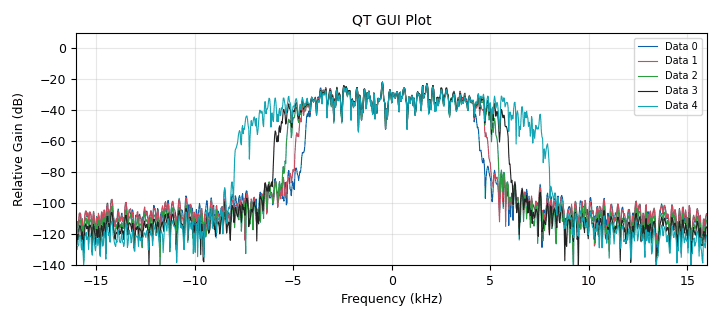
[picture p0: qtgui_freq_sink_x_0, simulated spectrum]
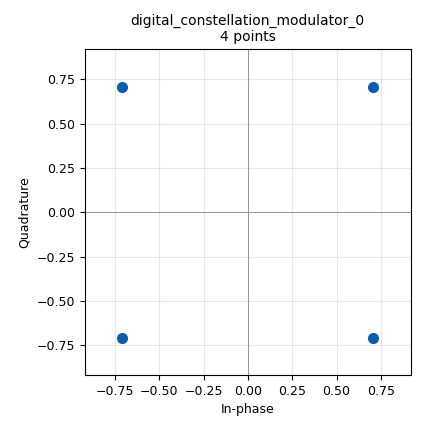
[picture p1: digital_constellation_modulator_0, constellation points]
options:
  parameters:
    category: Custom
    generate_options: qt_gui
    id: mpsk_rrc_rolloff
    output_language: python
  states: {}

blocks:
- name: arity
  id: variable
  parameters:
    value: '4'
  states: {}
- name: excess_bw
  id: variable
  parameters:
    value: '0.35'
  states: {}
- name: qpsk_const
  id: variable_constellation_rect
  parameters:
    const_points: '[-1-1j, -1+1j, 1+1j, 1-1j]'
    imag_sect: '2'
    real_sect: '2'
    rot_sym: '4'
    sym_map: '[0, 1, 3, 2]'
    w_imag_sect: '1'
    w_real_sect: '1'
  states: {}
- name: samp_rate
  id: variable
  parameters:
    value: '32000'
  states: {}
- name: sps
  id: variable
  parameters:
    value: '4'
  states: {}
- name: analog_random_source_x_0
  id: analog_random_source_x
  parameters:
    max: '255'
    min: '0'
    num_samps: '1000'
    repeat: 'True'
    type: byte
  states: {}
- name: blocks_file_source_0
  id: blocks_file_source
  parameters:
    file: ./big_buck_bunny_480p_stereo.ogg
    repeat: 'True'
    type: byte
  states: {state: disabled}
- name: blocks_throttle_0
  id: blocks_throttle
  parameters:
    samples_per_second: samp_rate
    type: complex
  states: {}
- name: digital_constellation_modulator_0
  id: digital_constellation_modulator
  parameters:
    constellation: qpsk_const
    differential: 'True'
    excess_bw: '0.1'
    samples_per_symbol: sps
  states: {}
- name: digital_constellation_modulator_0_0
  id: digital_constellation_modulator
  parameters:
    constellation: qpsk_const
    differential: 'True'
    excess_bw: '0.22'
    samples_per_symbol: sps
  states: {}
- name: digital_constellation_modulator_0_0_0
  id: digital_constellation_modulator
  parameters:
    constellation: qpsk_const
    differential: 'True'
    excess_bw: '0.5'
    samples_per_symbol: sps
  states: {}
- name: digital_constellation_modulator_0_0_0_0
  id: digital_constellation_modulator
  parameters:
    constellation: qpsk_const
    differential: 'True'
    excess_bw: '1.0'
    samples_per_symbol: sps
  states: {}
- name: digital_constellation_modulator_0_1
  id: digital_constellation_modulator
  parameters:
    constellation: qpsk_const
    differential: 'True'
    excess_bw: '0.35'
    samples_per_symbol: sps
  states: {}
- name: qtgui_freq_sink_x_0
  id: qtgui_freq_sink_x
  parameters:
    bw: samp_rate
    fc: '0'
    fftsize: '1024'
    gui_hint: 1,0,1,2
    label2: ''
    label3: ''
    label4: ''
    label5: ''
    name: QT GUI Plot
    nconnections: '5'
    type: complex
    wintype: firdes.WIN_BLACKMAN_hARRIS
  states: {}

connections:
- [analog_random_source_x_0, '0', digital_constellation_modulator_0, '0']
- [analog_random_source_x_0, '0', digital_constellation_modulator_0_0, '0']
- [analog_random_source_x_0, '0', digital_constellation_modulator_0_0_0, '0']
- [analog_random_source_x_0, '0', digital_constellation_modulator_0_0_0_0, '0']
- [analog_random_source_x_0, '0', digital_constellation_modulator_0_1, '0']
- [blocks_file_source_0, '0', digital_constellation_modulator_0, '0']
- [blocks_file_source_0, '0', digital_constellation_modulator_0_0, '0']
- [blocks_file_source_0, '0', digital_constellation_modulator_0_0_0, '0']
- [blocks_file_source_0, '0', digital_constellation_modulator_0_0_0_0, '0']
- [blocks_file_source_0, '0', digital_constellation_modulator_0_1, '0']
- [blocks_throttle_0, '0', qtgui_freq_sink_x_0, '0']
- [digital_constellation_modulator_0, '0', blocks_throttle_0, '0']
- [digital_constellation_modulator_0_0, '0', qtgui_freq_sink_x_0, '1']
- [digital_constellation_modulator_0_0_0, '0', qtgui_freq_sink_x_0, '3']
- [digital_constellation_modulator_0_0_0_0, '0', qtgui_freq_sink_x_0, '4']
- [digital_constellation_modulator_0_1, '0', qtgui_freq_sink_x_0, '2']

metadata:
  file_format: 1
